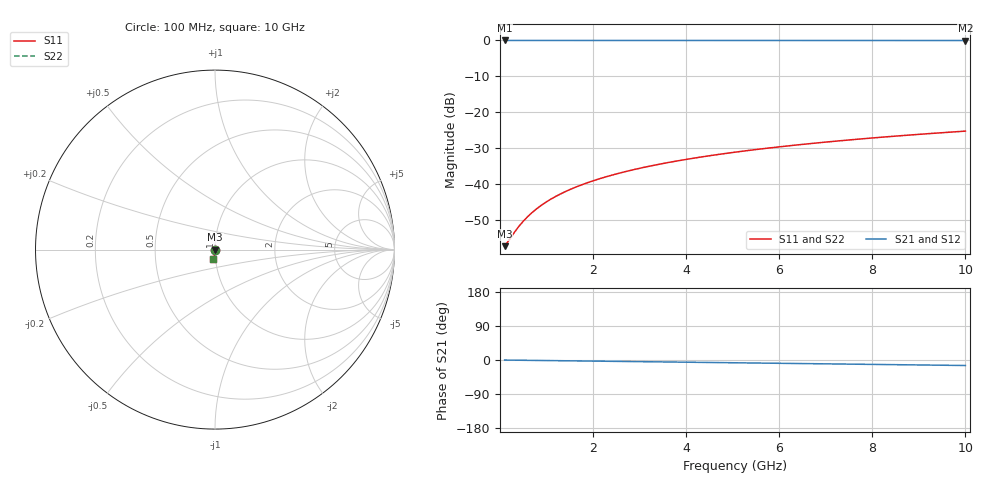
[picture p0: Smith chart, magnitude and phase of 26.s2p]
# Hz S RI R 50.00
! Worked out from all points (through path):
!   100 points, 100 MHz to 10 GHz, reference 50 ohm
!   highest |S21| = -0.01 dB at 100 MHz (marker M1); lowest = 0.0 dB at 10 GHz (marker M2)
!   group delay of S21, straight-line fit = 4.03 ps
!   lowest |S11| = -57.4 dB at 100 MHz (marker M3), VSWR 1.00, Z = 50.1 - j0.0553 ohm
!   |S11| at or under -10 dB: start of sweep to end of sweep
!   |S22| runs from -57.4 to -25.3 dB; largest |S21 - S12| = 0
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1e8  0.00124 -0.000551  0.9988 -0.00253  0.9988 -0.00253  0.00124 -0.000551
2e8  0.00124 -0.0011  0.9987 -0.00505  0.9987 -0.00505  0.00124 -0.0011
3e8  0.00124 -0.00165  0.9987 -0.00758  0.9987 -0.00758  0.00124 -0.00165
4e8  0.00123 -0.00221  0.9987 -0.0101  0.9987 -0.0101  0.00123 -0.00221
5e8  0.00122 -0.00276  0.9986 -0.0126  0.9986 -0.0126  0.00122 -0.00276
6e8  0.00121 -0.00331  0.9986 -0.0152  0.9986 -0.0152  0.00121 -0.00331
7e8  0.00119 -0.00386  0.9986 -0.0177  0.9986 -0.0177  0.00119 -0.00386
8e8  0.00118 -0.00441  0.9985 -0.0202  0.9985 -0.0202  0.00118 -0.00441
1e9  0.00113 -0.00551  0.9984 -0.0253  0.9984 -0.0253  0.00113 -0.00551
1.2e9  0.00107 -0.00661  0.9982 -0.0303  0.9982 -0.0303  0.00107 -0.00661
1.5e9  0.000959 -0.00827  0.9979 -0.0379  0.9979 -0.0379  0.000959 -0.00827
1.8e9  0.000824 -0.00992  0.9976 -0.0455  0.9976 -0.0455  0.000824 -0.00992
2.1e9  0.000662 -0.0116  0.9972 -0.053  0.9972 -0.053  0.000662 -0.0116
2.5e9  0.000408 -0.0138  0.9966 -0.0631  0.9966 -0.0631  0.000408 -0.0138
2.9e9  0.00011 -0.0159  0.9958 -0.0732  0.9958 -0.0732  0.00011 -0.0159
3.4e9  -0.000326 -0.0187  0.9948 -0.0858  0.9948 -0.0858  -0.000326 -0.0187
4.2e9  -0.00117 -0.023  0.9927 -0.1059  0.9927 -0.1059  -0.00117 -0.023
5.1e9  -0.00232 -0.0278  0.9899 -0.1285  0.9899 -0.1285  -0.00232 -0.0278
5.9e9  -0.00353 -0.0321  0.9869 -0.1485  0.9869 -0.1485  -0.00353 -0.0321
6.7e9  -0.00492 -0.0363  0.9835 -0.1684  0.9835 -0.1684  -0.00492 -0.0363
8.4e9  -0.00841 -0.045  0.9749 -0.2105  0.9749 -0.2105  -0.00841 -0.045
1e10  -0.0124 -0.053  0.9651 -0.2498  0.9651 -0.2498  -0.0124 -0.053
